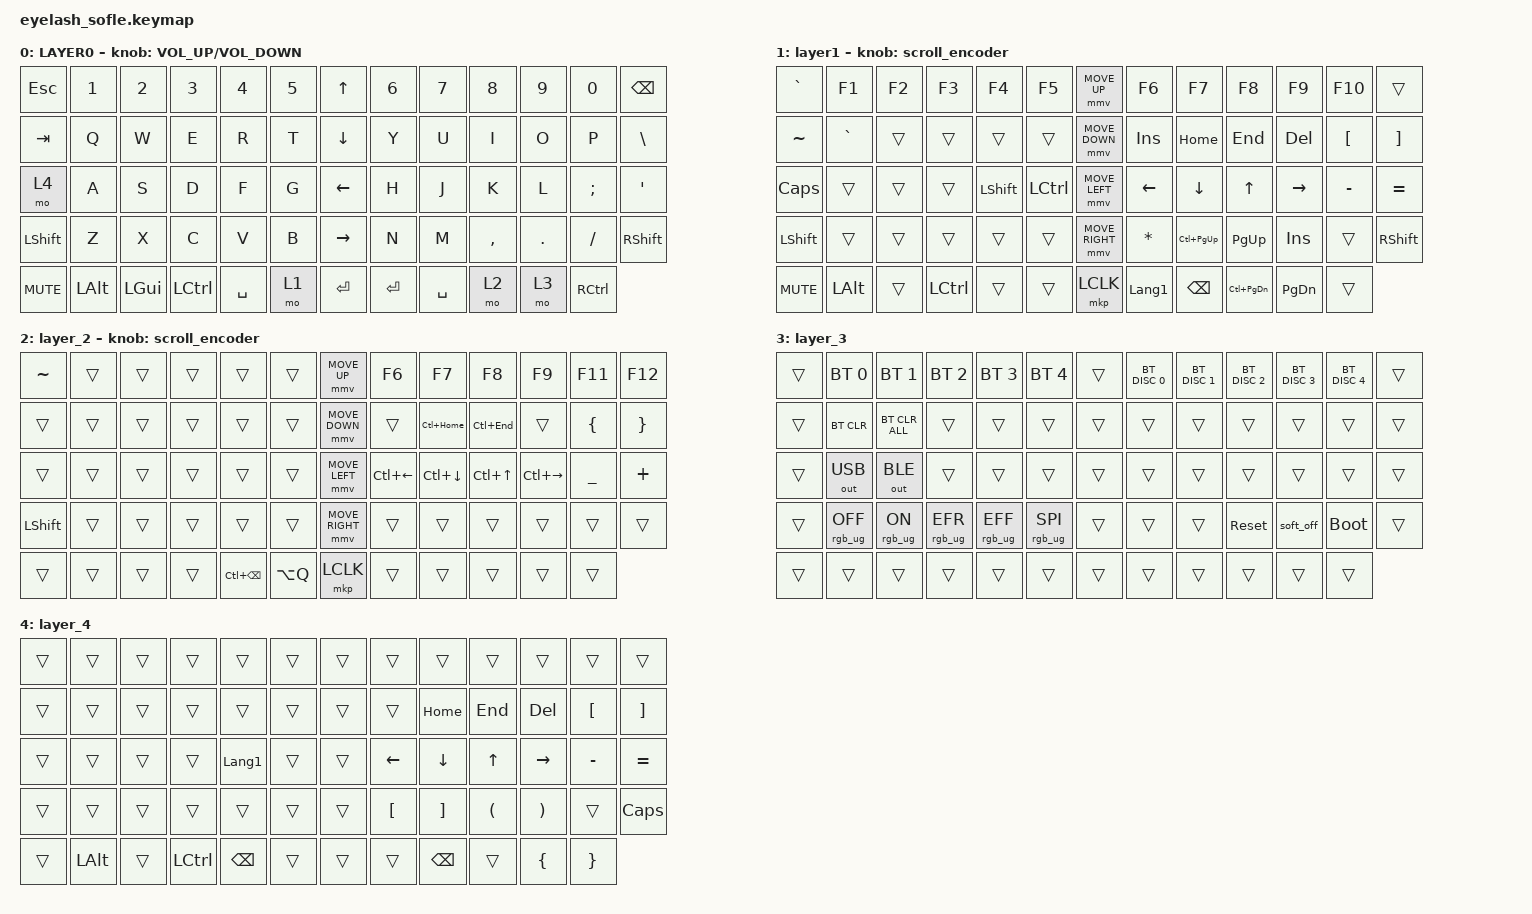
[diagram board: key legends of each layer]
#define ZMK_POINTING_DEFAULT_MOVE_VAL 1200  // 600
#define ZMK_POINTING_DEFAULT_SCRL_VAL 35    // 10

#include <input/processors.dtsi>
#include <zephyr/dt-bindings/input/input-event-codes.h>
#include <behaviors.dtsi>
#include <dt-bindings/zmk/bt.h>
#include <dt-bindings/zmk/keys.h>
#include <dt-bindings/zmk/outputs.h>
#include <dt-bindings/zmk/pointing.h>
#include <dt-bindings/zmk/rgb.h>

/ {
    zip_scroll_scaler: zip_scroll_scaler {
        compatible = "zmk,input-processor-scaler";
        #input-processor-cells = <2>;
        type = <INPUT_EV_REL>;
        codes = <INPUT_REL_WHEEL INPUT_REL_HWHEEL>;
        track-remainders;
    };
};

&mmv_input_listener { input-processors = <&zip_xy_scaler 2 1>; };

&msc_input_listener { input-processors = <&zip_scroll_scaler 2 1>; };

&msc {
    acceleration-exponent = <0>;      // 0
    time-to-max-speed-ms = <0>;       // 300
    delay-ms = <0>;                   // 0
};

&mmv {
    time-to-max-speed-ms = <400>;
    acceleration-exponent = <1>;
};

/ {
    scroll_encoder: scroll_encoder {
        compatible = "zmk,behavior-sensor-rotate";
        #sensor-binding-cells = <0>;
        bindings = <&msc SCRL_DOWN>, <&msc SCRL_UP>;

        tap-ms = <30>;
    };

    behaviors {
    };

    keymap {
        compatible = "zmk,keymap";

        layer0 {
            bindings = <
&kp ESC     &kp N1        &kp N2        &kp N3     &kp N4     &kp N5    &kp UP_ARROW     &kp N6     &kp N7     &kp N8     &kp N9   &kp N0             &kp BACKSPACE
&kp TAB     &kp Q         &kp W         &kp E      &kp R      &kp T     &kp DOWN_ARROW   &kp Y      &kp U      &kp I      &kp O    &kp P              &kp BSLH
&mo 4       &kp A         &kp S         &kp D      &kp F      &kp G     &kp LEFT_ARROW   &kp H      &kp J      &kp K      &kp L    &kp SEMI           &kp APOS
&kp LSHFT   &kp Z         &kp X         &kp C      &kp V      &kp B     &kp RIGHT_ARROW  &kp N      &kp M      &kp COMMA  &kp DOT  &kp FSLH           &kp RIGHT_SHIFT
&kp C_MUTE  &kp LEFT_ALT  &kp LEFT_GUI  &kp LCTRL  &kp SPACE  &mo 1     &kp ENTER        &kp ENTER  &kp SPACE  &mo 2      &mo 3    &kp RIGHT_CONTROL
            >;

            sensor-bindings = <&inc_dec_kp C_VOLUME_UP C_VOLUME_DOWN>;
            display-name = "LAYER0";
        };

        layer_1 {
            bindings = <
&kp GRAVE       &kp F1        &kp F2  &kp F3     &kp F4          &kp F5       &mmv MOVE_UP     &kp F6          &kp F7           &kp F8             &kp F9         &kp F10           &trans
&kp TILDE       &kp GRAVE     &trans  &trans     &trans          &trans       &mmv MOVE_DOWN   &kp INSERT      &kp HOME         &kp END            &kp DEL        &kp LEFT_BRACKET  &kp RIGHT_BRACKET
&kp CAPS        &trans        &trans  &trans     &kp LEFT_SHIFT  &kp LCTRL    &mmv MOVE_LEFT   &kp LEFT        &kp DOWN_ARROW   &kp UP_ARROW       &kp RIGHT      &kp MINUS         &kp EQUAL
&kp LEFT_SHIFT  &trans        &trans  &trans     &trans          &trans       &mmv MOVE_RIGHT  &kp ASTERISK    &kp LC(PAGE_UP)  &kp PG_UP          &kp INS        &trans            &kp RIGHT_SHIFT
&kp C_MUTE      &kp LEFT_ALT  &trans  &kp LCTRL  &trans          &trans       &mkp LCLK        &kp LANGUAGE_1  &kp BACKSPACE    &kp LC(PAGE_DOWN)  &kp PAGE_DOWN  &trans
            >;

            display-name = "layer1";
            sensor-bindings = <&scroll_encoder>;
        };

        layer_2 {
            bindings = <
&kp TILDE       &trans  &trans  &trans  &trans             &trans       &mmv MOVE_UP     &kp F6        &kp F7              &kp F8            &kp F9         &kp F11         &kp F12
&trans          &trans  &trans  &trans  &trans             &trans       &mmv MOVE_DOWN   &trans        &kp LC(HOME)        &kp LC(END)       &trans         &kp LEFT_BRACE  &kp RIGHT_BRACE
&trans          &trans  &trans  &trans  &trans             &trans       &mmv MOVE_LEFT   &kp LC(LEFT)  &kp LC(DOWN_ARROW)  &kp LC(UP_ARROW)  &kp LC(RIGHT)  &kp UNDER       &kp PLUS
&kp LEFT_SHIFT  &trans  &trans  &trans  &trans             &trans       &mmv MOVE_RIGHT  &trans        &trans              &trans            &trans         &trans          &trans
&trans          &trans  &trans  &trans  &kp LC(BACKSPACE)  &kp LA(Q)    &mkp LCLK        &trans        &trans              &trans            &trans         &trans
            >;

            sensor-bindings = <&scroll_encoder>;
        };

        layer_3 {
            bindings = <
&trans  &bt BT_SEL 0     &bt BT_SEL 1    &bt BT_SEL 2     &bt BT_SEL 3     &bt BT_SEL 4       &trans  &bt BT_DISC 0  &bt BT_DISC 1  &bt BT_DISC 2  &bt BT_DISC 3  &bt BT_DISC 4  &trans
&trans  &bt BT_CLR       &bt BT_CLR_ALL  &trans           &trans           &trans             &trans  &trans         &trans         &trans         &trans         &trans         &trans
&trans  &out OUT_USB     &out OUT_BLE    &trans           &trans           &trans             &trans  &trans         &trans         &trans         &trans         &trans         &trans
&trans  &rgb_ug RGB_OFF  &rgb_ug RGB_ON  &rgb_ug RGB_EFR  &rgb_ug RGB_EFF  &rgb_ug RGB_SPI    &trans  &trans         &trans         &sys_reset     &soft_off      &bootloader    &trans
&trans  &trans           &trans          &trans           &trans           &trans             &trans  &trans         &trans         &trans         &trans         &trans
            >;
        };

        layer_4 {
            bindings = <
&trans  &trans        &trans  &trans     &trans          &trans    &trans  &trans            &trans             &trans                &trans                 &trans            &trans
&trans  &trans        &trans  &trans     &trans          &trans    &trans  &trans            &kp HOME           &kp END               &kp DEL                &kp LEFT_BRACKET  &kp RIGHT_BRACKET
&trans  &trans        &trans  &trans     &kp LANGUAGE_1  &trans    &trans  &kp LEFT_ARROW    &kp DOWN           &kp UP_ARROW          &kp RIGHT              &kp MINUS         &kp EQUAL
&trans  &trans        &trans  &trans     &trans          &trans    &trans  &kp LEFT_BRACKET  &kp RIGHT_BRACKET  &kp LEFT_PARENTHESIS  &kp RIGHT_PARENTHESIS  &trans            &kp CAPS
&trans  &kp LEFT_ALT  &trans  &kp LCTRL  &kp BACKSPACE   &trans    &trans  &trans            &kp BACKSPACE      &trans                &kp LEFT_BRACE         &kp RIGHT_BRACE
            >;
        };
    };
};
